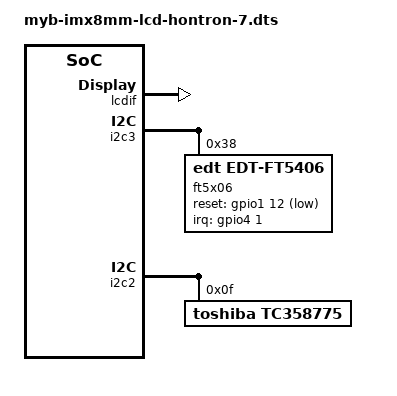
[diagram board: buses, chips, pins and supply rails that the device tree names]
/*
 * Copyright 2019 MYiR Devices
 */

#include "myb-imx8mm-base.dts"
#include "panel-hontron-7.dtsi"

/{
     display-subsystem {                                                                                
         status = "okay";
	};
};

&lcdif{
	max-res = <1024>, <600>;
	status = "okay";
};

&iomuxc {
	imx8mm-evk {
                edt_ft5x06_pins:pinctrl_ft5xgrp {
                        fsl,pins = <
                                MX8MM_IOMUXC_GPIO1_IO12_GPIO1_IO12   0x19
                                MX8MM_IOMUXC_SAI1_RXC_GPIO4_IO1      0x19
                        >;
                };
	};
};

/* touch */
&i2c3 {
        clock_frequency = <100000>;
        pinctrl-names = "default";
        status = "okay";
        ft5x06: ft5x06@38 {
	        compatible = "edt,edt-ft5406", "edt,edt-ft5x06";
                reg = <0x38>;
                pinctrl-names = "default";
                pinctrl-0 = <&edt_ft5x06_pins>;
                interrupt-parent = <&gpio4>;
                interrupts = <1 IRQ_TYPE_EDGE_FALLING>;
                reset-gpios = <&gpio1 12  GPIO_ACTIVE_LOW>;
	        touchscreen-size-x=<1024>;
	        touchscreen-size-y=<600>;
        };

};

&i2c2 {
        tc358775:tc358775@f{
                compatible = "toshiba,tc358775";
                reg  = <0x0f>;
                status = "okay";
        };
};

